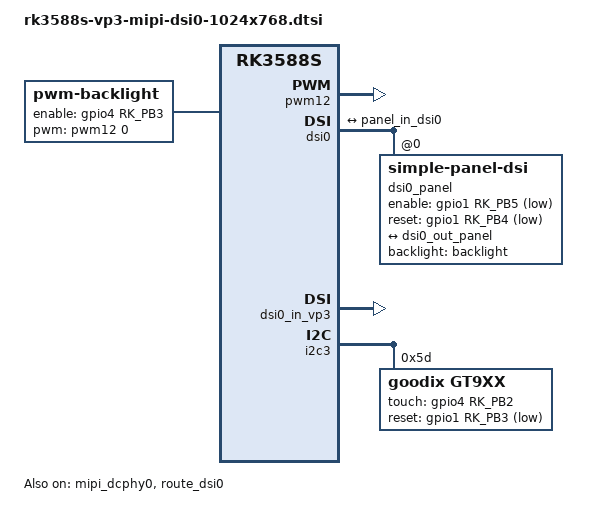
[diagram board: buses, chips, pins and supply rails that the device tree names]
// SPDX-License-Identifier: (GPL-2.0+ OR MIT)
/*
 * Copyright (c) 2020 Rockchip Electronics Co., Ltd.
 *
 */
/ {
	backlight: backlight {
		compatible = "pwm-backlight";
		pwms = <&pwm12 0 25000 1>;
		brightness-levels = <
			 30  30  30  30  30  30  30  30
             30  30  30  30  30  30  30  30
             30  30  30  30  30  30  30  31
			 31  32  32  33  33  34  34  35
			 35  36  36  37  37  38  38  39
			 40  41  42  43  44  45  46  47
			 48  49  50  51  52  53  54  55
			 56  57  58  59  60  61  62  63
			 64  65  66  67  68  69  70  71
			 72  73  74  75  76  77  78  79
			 80  81  82  83  84  85  86  87
			 88  89  90  91  92  93  94  95
			 96  97  98  99 100 101 102 103
			104 105 106 107 108 109 110 111
			112 113 114 115 116 117 118 119
			120 121 122 123 124 125 126 127
			128 129 130 131 132 133 134 135
			136 137 138 139 140 141 142 143
			144 145 146 147 148 149 150 151
			152 153 154 155 156 157 158 159
			160 161 162 163 164 165 166 167
			168 169 170 171 172 173 174 175
			176 177 178 179 180 181 182 183
			184 185 186 187 188 189 190 191
			192 193 194 195 196 197 198 199
			200 201 202 203 204 205 206 207
			208 209 210 211 212 213 214 215
			216 217 218 219 220 221 222 223
			224 225 226 227 228 229 230 231
			232 233 234 235 236 237 238 239
			240 241 242 243 244 245 246 247
			248 249 250 251 252 253 254 255
		>;
		default-brightness-level = <200>;
		enable-gpios = <&gpio4 RK_PB3 GPIO_ACTIVE_HIGH>;
	};
};

&pwm12 {
	pinctrl-0 = <&pwm12m1_pins>;
	status = "okay";
};

#if 1
/*
 * mipi_dcphy0 needs to be enabled
 * when dsi0 is enabled
 */

&mipi_dcphy0{
	status = "okay";
};

&mipi_dcphy1 {
    status = "disabled";
};

&dsi0 {
    status = "okay";
    dsi0_panel: panel@0 {
        status = "okay";
        compatible = "simple-panel-dsi";
        reg = <0>;
        backlight = <&backlight>;

        enable-gpios = <&gpio1 RK_PB5 GPIO_ACTIVE_LOW>;
        reset-gpios = <&gpio1 RK_PB4 GPIO_ACTIVE_LOW>;
        reset-delay-ms = <60>;
        enable-delay-ms = <60>;
        prepare-delay-ms = <60>;
        unprepare-delay-ms = <60>;
        disable-delay-ms = <60>;
        dsi,flags = <(MIPI_DSI_MODE_VIDEO | MIPI_DSI_MODE_VIDEO_BURST |
            MIPI_DSI_MODE_LPM | MIPI_DSI_MODE_EOT_PACKET)>;
        dsi,format = <MIPI_DSI_FMT_RGB888>;
        dsi,lanes  = <4>;
        panel-init-sequence = [
        	15 00 02 80 ac
            15 00 02 81 b8
            15 00 02 82 09
            15 00 02 83 78
            15 00 02 84 7f
            15 00 02 85 bb
            15 00 02 86 70
        ];

        panel-exit-sequence = [
            05 00 01 28
            05 00 01 10
        ];

        disp0_timings0: display-timings {
            native-mode = <&dsi0_timing0>;
            dsi0_timing0: timing0 {
                clock-frequency = <51668640>; //DCLK
                hactive = <1024>;             //hactive
                vactive = <600>;              //vactive
                hfront-porch = <160>;         //hfp
                hback-porch = <160>;          //hbp
                hsync-len = <10>;             //hsa
                vfront-porch = <12>;          //vfp
                vsync-len = <10>;              //vsa
                vback-porch = <23>;           //vbp
                hsync-active = <0>;           //hync 极性控制 置 1 反转极性
                vsync-active = <0>;           //vsync 极性控制 置 1 反转极性
                de-active = <1>;              //DEN 极性控制
                pixelclk-active = <0>;        //dclk 极性控制
            };
            dsi0_timing1: timing1 {
                clock-frequency = <132000000>;
                hactive = <1080>;
                vactive = <1920>;
                hfront-porch = <15>;
                hsync-len = <4>;
                hback-porch = <30>;
                vfront-porch = <15>;
                vsync-len = <2>;
                vback-porch = <15>;
                hsync-active = <0>;
                vsync-active = <0>;
                de-active = <0>;
                pixelclk-active = <0>;
            };
        };

        ports {
            #address-cells = <1>;
            #size-cells = <0>;

            port@0 {
                reg = <0>;
                panel_in_dsi0: endpoint {
                    remote-endpoint = <&dsi0_out_panel>;
                };
            };
        };
    };

    ports {
        #address-cells = <1>;
        #size-cells = <0>;

        port@1 {
            reg = <1>;
            dsi0_out_panel: endpoint {
                remote-endpoint = <&panel_in_dsi0>;
            };
        };
    };
};

&route_dsi0 {
    status = "okay";
    connect = <&vp3_out_dsi0>;
};

&dsi0_in_vp2 {
    status = "disabled";
};

&dsi0_in_vp3 {
    status = "okay";
};

#endif

&i2c3 {
	status = "okay";
	pinctrl-names = "default";
	pinctrl-0 = <&i2c3m2_xfer>;

	gt9xx@5d {
        compatible = "goodix,gt9xx";
        reg = <0x5d>;
        touch-gpio = <&gpio4 RK_PB2 IRQ_TYPE_EDGE_RISING>;
        reset-gpio = <&gpio1 RK_PB3 GPIO_ACTIVE_LOW>;
        max-x = <1024>;
        max-y = <600>;
        tp-size = <911>;
        pinctrl-names = "default";
    	pinctrl-0 = <&touch_gpio>;
        //tp-supply = <&vcc_io>;
        status = "okay";
    };
};

&pinctrl{
	touch {
		touch_gpio: touch-gpio {
			rockchip,pins =
				<4 RK_PB2 RK_FUNC_GPIO &pcfg_pull_up>,
				<1 RK_PB3 RK_FUNC_GPIO &pcfg_pull_none>;
		};
	};
};
